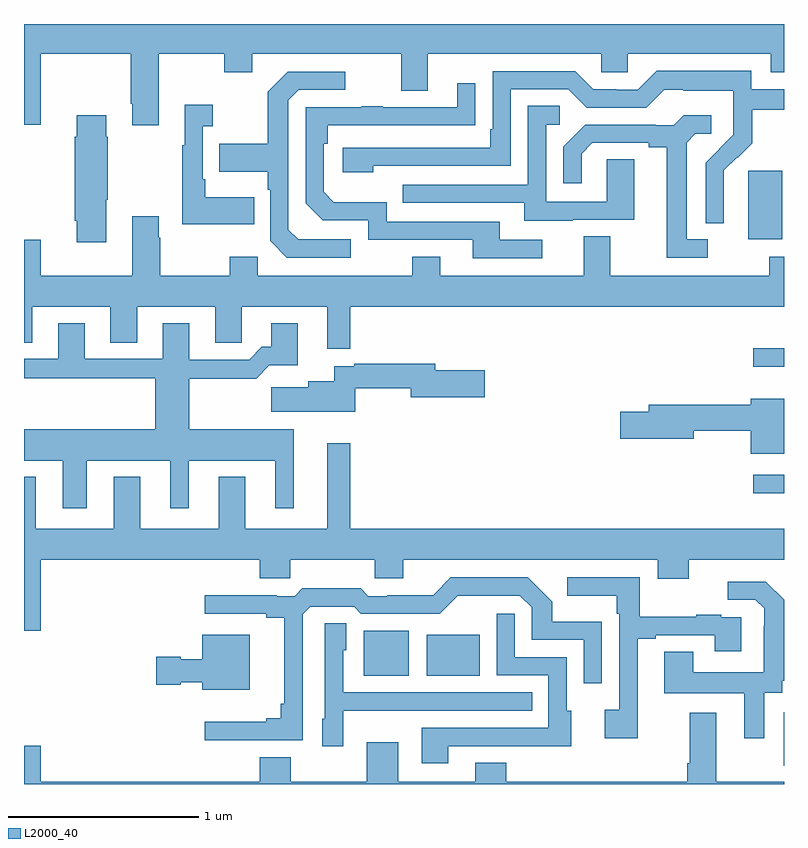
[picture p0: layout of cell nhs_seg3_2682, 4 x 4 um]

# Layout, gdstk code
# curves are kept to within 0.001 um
import gdstk
lib = gdstk.Library(unit=1e-6, precision=1e-09)
def R(c, l, rs):  # rectangles x0, y0, x1, y1
    for r in rs: c.add(gdstk.rectangle(r[:2], r[2:], *l))
def P(c, l, *ps):  # polygons
    for p in ps: c.add(gdstk.Polygon(p, *l))
L2000_40 = (2000, 40)

nhs_seg3_2682 = lib.new_cell('nhs_seg3_2682')
R(nhs_seg3_2682, L2000_40, [(250.787,702.971,251.026,703.207), (251.12,702.971,251.398,703.186), (252.837,703.931,253,704.028), (252.837,704.597,253,704.694), (252.812,705.266,252.991,705.627)])
P(nhs_seg3_2682, L2000_40, [(249.709,706.244),(250.054,706.244),(250.054,706.145),(250.201,706.145),(250.201,706.244),(250.985,706.244),(250.985,706.05),(251.125,706.05),(251.125,706.244),(252.039,706.244),(252.039,706.146),(252.177,706.146),(252.177,706.244),(252.929,706.244),(252.929,706.145),(253,706.145),(253,706.4),(249,706.4),(249,705.87),(249.088,705.87),(249.088,706.244),(249.562,706.244),(249.562,705.979),(249.569,705.979),(249.569,705.867),(249.709,705.867)],
  [(252.684,705.506),(252.683,705.629),(252.753,705.699),(252.756,705.696),(252.833,705.773),(252.833,705.948),(253,705.948),(253,706.056),(252.828,706.056),(252.828,706.153),(252.331,706.153),(252.231,706.053),(252.116,706.053),(252.116,706.056),(251.997,706.056),(251.901,706.152),(251.466,706.152),(251.466,705.847),(251.453,705.847),(251.453,705.75),(250.677,705.75),(250.677,705.62),(250.838,705.62),(250.838,705.654),(251.562,705.654),(251.562,706.056),(251.865,706.056),(251.961,705.96),(252.276,705.96),(252.369,706.053),(252.469,706.053),(252.469,706.049),(252.732,706.049),(252.732,705.915),(252.734,705.915),(252.734,705.818),(252.588,705.67),(252.588,705.352),(252.684,705.352)],
  [(250.72,705.267),(250.443,705.267),(250.392,705.318),(250.392,705.999),(250.446,706.053),(250.69,706.053),(250.69,706.149),(250.389,706.149),(250.284,706.043),(250.284,705.771),(250.027,705.771),(250.027,705.623),(250.284,705.623),(250.284,705.527),(250.296,705.527),(250.296,705.258),(250.383,705.171),(250.72,705.171)],
  [(251.728,705.264),(251.503,705.264),(251.503,705.36),(250.908,705.36),(250.908,705.463),(250.631,705.463),(250.578,705.516),(250.578,705.77),(250.598,705.77),(250.598,705.867),(251.375,705.868),(251.375,706.087),(251.279,706.087),(251.279,705.963),(250.889,705.963),(250.889,705.968),(250.777,705.968),(250.777,705.963),(250.482,705.963),(250.482,705.456),(250.572,705.366),(250.812,705.366),(250.812,705.264),(251.363,705.264),(251.363,705.168),(251.728,705.168)],
  [(250.211,705.487),(249.955,705.487),(249.955,705.583),(249.942,705.583),(249.942,705.863),(249.994,705.863),(249.994,705.976),(249.845,705.976),(249.845,705.763),(249.834,705.763),(249.834,705.347),(250.211,705.347)],
  [(251.887,705.369),(252.211,705.369),(252.211,705.689),(252.066,705.689),(252.066,705.465),(251.748,705.465),(251.748,705.87),(251.821,705.87),(251.821,705.971),(251.652,705.971),(251.652,705.555),(250.993,705.555),(250.993,705.459),(251.633,705.459),(251.633,705.365),(251.887,705.365)],
  [(249.433,705.475),(249.441,705.475),(249.441,705.806),(249.433,705.806),(249.433,705.919),(249.278,705.919),(249.278,705.806),(249.266,705.806),(249.266,705.364),(249.278,705.364),(249.278,705.252),(249.433,705.252)],
  [(252.598,705.267),(252.487,705.267),(252.487,705.775),(252.534,705.822),(252.616,705.822),(252.616,705.919),(252.472,705.919),(252.42,705.867),(252.326,705.867),(252.326,705.87),(251.954,705.87),(251.838,705.754),(251.838,705.561),(251.935,705.561),(251.935,705.717),(251.992,705.774),(252.287,705.774),(252.287,705.752),(252.383,705.752),(252.383,705.171),(252.598,705.171)],
  [(250.717,704.912),(253,704.912),(253,705.175),(252.922,705.175),(252.922,705.076),(252.085,705.076),(252.085,705.284),(251.945,705.284),(251.945,705.076),(251.191,705.076),(251.191,705.175),(251.044,705.175),(251.044,705.076),(250.23,705.076),(250.23,705.175),(250.084,705.175),(250.084,705.076),(249.717,705.076),(249.717,705.275),(249.709,705.275),(249.709,705.388),(249.569,705.388),(249.569,705.076),(249.088,705.076),(249.088,705.265),(249,705.265),(249,704.722),(249.043,704.722),(249.043,704.912),(249.455,704.912),(249.455,704.722),(249.595,704.722),(249.595,704.912),(250.007,704.912),(250.007,704.722),(250.146,704.722),(250.146,704.912),(250.595,704.912),(250.595,704.691),(250.717,704.691)],
  [(249.331,704.102),(249.77,704.102),(249.77,703.851),(249.868,703.851),(249.868,704.102),(250.322,704.102),(250.322,703.851),(250.42,703.851),(250.42,704.266),(249.87,704.266),(249.87,704.534),(250.223,704.534),(250.292,704.603),(250.441,704.603),(250.441,704.824),(250.301,704.824),(250.301,704.701),(250.252,704.701),(250.185,704.634),(249.871,704.634),(249.871,704.824),(249.731,704.824),(249.731,704.637),(249.319,704.637),(249.319,704.824),(249.179,704.824),(249.179,704.637),(249,704.637),(249,704.536),(249.692,704.536),(249.692,704.266),(249,704.266),(249,704.102),(249.203,704.102),(249.203,703.851),(249.331,703.851)],
  [(250.744,704.482),(251.036,704.482),(251.036,704.435),(251.425,704.435),(251.425,704.577),(251.164,704.577),(251.164,704.611),(250.738,704.611),(250.738,704.598),(250.634,704.598),(250.634,704.521),(250.496,704.521),(250.496,704.489),(250.302,704.489),(250.302,704.36),(250.744,704.36)],
  [(253,704.428),(252.824,704.428),(252.824,704.396),(252.287,704.396),(252.287,704.36),(252.138,704.36),(252.138,704.218),(252.526,704.218),(252.526,704.26),(252.824,704.26),(252.824,704.138),(253,704.138)],
  [(250.717,704.194),(250.595,704.194),(250.595,703.744),(250.165,703.744),(250.165,704.017),(250.025,704.017),(250.025,703.744),(249.613,703.744),(249.613,704.017),(249.473,704.017),(249.473,703.744),(249.061,703.744),(249.061,704.017),(249,704.017),(249,703.206),(249.088,703.206),(249.088,703.58),(250.241,703.58),(250.241,703.482),(250.401,703.482),(250.401,703.58),(250.846,703.58),(250.846,703.482),(250.996,703.482),(250.996,703.58),(252.335,703.58),(252.335,703.481),(252.499,703.481),(252.499,703.58),(253,703.58),(253,703.744),(250.717,703.744)],
  [(250.467,703.293),(250.506,703.332),(250.737,703.332),(250.773,703.296),(251.187,703.296),(251.282,703.391),(251.61,703.392),(251.673,703.329),(251.673,703.158),(251.946,703.158),(251.946,702.93),(252.042,702.93),(252.042,703.255),(251.781,703.255),(251.781,703.358),(251.65,703.488),(251.247,703.488),(251.153,703.394),(250.912,703.394),(250.912,703.389),(250.812,703.389),(250.773,703.429),(250.465,703.429),(250.425,703.389),(250.331,703.389),(250.331,703.394),(249.951,703.394),(249.951,703.296),(250.274,703.296),(250.274,703.274),(250.37,703.274),(250.37,702.823),(250.351,702.823),(250.351,702.746),(250.274,702.746),(250.274,702.727),(249.951,702.727),(249.951,702.63),(250.467,702.63)],
  [(252.229,703.164),(252.325,703.164),(252.325,703.182),(252.635,703.182),(252.635,703.098),(252.775,703.098),(252.775,703.278),(252.671,703.278),(252.671,703.291),(252.539,703.291),(252.539,703.28),(252.241,703.28),(252.241,703.488),(251.859,703.488),(251.859,703.391),(252.12,703.391),(252.12,703.295),(252.132,703.295),(252.132,702.79),(252.057,702.79),(252.057,702.642),(252.229,702.642)],
  [(252.895,702.88),(252.99,702.88),(252.99,702.944),(253,702.944),(253,703.37),(252.905,703.465),(252.705,703.465),(252.705,703.371),(252.849,703.371),(252.896,703.324),(252.896,703.229),(252.894,703.229),(252.894,702.988),(252.523,702.988),(252.523,703.097),(252.371,703.097),(252.371,702.878),(252.791,702.878),(252.791,702.642),(252.895,702.642)],
  [(251.233,702.6),(251.663,702.6),(251.663,702.599),(251.881,702.599),(251.881,702.786),(251.856,702.786),(251.856,703.068),(251.583,703.068),(251.583,703.297),(251.487,703.297),(251.487,702.972),(251.76,702.972),(251.76,702.696),(251.093,702.696),(251.093,702.51),(251.233,702.51)],
  [(250.68,702.785),(250.997,702.785),(250.997,702.786),(251.675,702.786),(251.675,702.882),(250.68,702.882),(250.68,703.104),(250.696,703.104),(250.696,703.247),(250.584,703.247),(250.584,702.744),(250.571,702.744),(250.571,702.6),(250.68,702.6)],
  [(250.189,703.186),(249.938,703.186),(249.938,703.057),(249.825,703.057),(249.825,703.07),(249.696,703.07),(249.696,702.923),(249.825,702.923),(249.825,702.935),(249.938,702.935),(249.938,702.896),(250.189,702.896)],
  [(253,702.778),(252.999,702.777),(252.999,702.497),(253,702.497)],
  [(253,702.412),(252.643,702.412),(252.643,702.775),(252.503,702.775),(252.503,702.508),(252.491,702.508),(252.491,702.412),(251.539,702.412),(251.539,702.511),(251.375,702.511),(251.375,702.412),(250.969,702.412),(250.969,702.619),(250.805,702.619),(250.805,702.412),(250.405,702.412),(250.405,702.541),(250.241,702.541),(250.241,702.412),(249.088,702.412),(249.088,702.601),(249,702.601),(249,702.4),(253,702.4)])

lib.write_gds('nhs_seg3_2682.gds')
